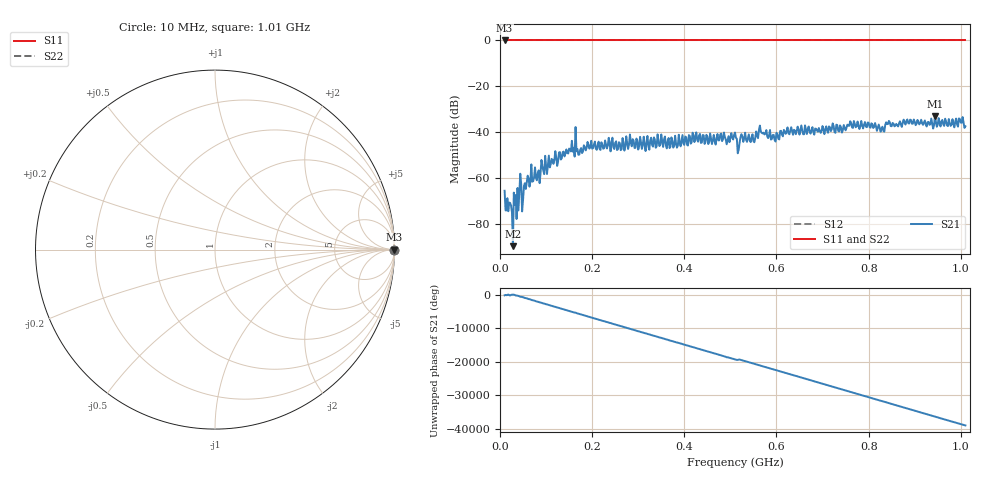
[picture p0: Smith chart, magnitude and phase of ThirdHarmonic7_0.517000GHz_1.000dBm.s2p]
! 8/17/2025 3:07:38 PM
! C:\ANRITSUVNA\TEMP\TEMP.S2P
! CHANNEL.1
! TR.MEASUREMENT
! RAW.DATA
! RF.CORRECTION.OFF
! AVERAGING.OFF
! IF.BANDWIDTH: 5KHZ
! SWEEPTYPE:  FREQ.SWEEP(Linear)
! Reference Plane Port Info
! PORT:  PORT1  PORT2
! DISTANCE:  0  m  0  m
! TIME:  0  s  0  s
! PHASE.OFFSET:  0  deg.  0  deg.
! LOSS:  0  dB  0  dB
! REF.LOSS:  0  dB  0  dB
! REF.FREQ:  0  Hz  0  Hz
! Power Info
! POWER:  -20  dBm  -20  dBm
! EFF.POWER:  -20  dBm  -20  dBm
! SOURCE.ATTEN:  0  dB  0  dB
! TEST.ATTEN:  0  dB  0  dB
# GHZ S RI R 50.0
! FREQ.GHZ  S11RE  S11IM  S21RE  S21IM  S12RE  S12IM  S22RE  S22IM
!; PortSelection: Port_12
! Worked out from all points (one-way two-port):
!   501 points, 10 MHz to 1.01 GHz, reference 50 ohm
!   highest |S21| = -32.89 dB at 944 MHz (marker M1); lowest = -89.7 dB at 28 MHz (marker M2)
!   lowest |S11| = 0.0 dB at 10 MHz (marker M3)
!   |S11| at or under -10 dB: nowhere
!   |S22| runs from 0.0 to 0.0 dB; largest |S21 - S12| = 1
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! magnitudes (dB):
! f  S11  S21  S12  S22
! 10 MHz  0.0  -65.5  0.0  0.0
! 28 MHz  0.0  -89.7  0.0  0.0
! 38 MHz  0.0  -64.3  0.0  0.0
! 42 MHz  0.0  -65.9  0.0  0.0
! 52 MHz  0.0  -63.4  0.0  0.0
! 64 MHz  0.0  -63.7  0.0  0.0
! 82 MHz  0.0  -57.8  0.0  0.0
! 94 MHz  0.0  -56.7  0.0  0.0
! 160 MHz  0.0  -46.8  0.0  0.0
! 178 MHz  0.0  -49.1  0.0  0.0
! 344 MHz  0.0  -44.0  0.0  0.0
! 510 MHz  0.0  -40.2  0.0  0.0
! 516 MHz  0.0  -49.2  0.0  0.0
! 566 MHz  0.0  -39.7  0.0  0.0
! 594 MHz  0.0  -41.2  0.0  0.0
! 678 MHz  0.0  -37.8  0.0  0.0
! 758 MHz  0.0  -37.2  0.0  0.0
! 830 MHz  0.0  -37.6  0.0  0.0
! 844 MHz  0.0  -35.1  0.0  0.0
! 944 MHz  0.0  -32.9  0.0  0.0
! 1 GHz  0.0  -35.8  0.0  0.0
! 1.01 GHz  0.0  -37.4  0.0  0.0
